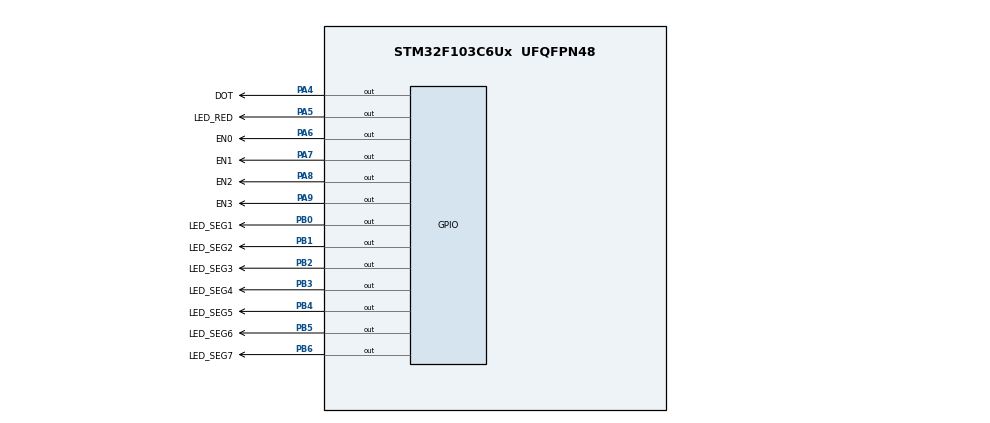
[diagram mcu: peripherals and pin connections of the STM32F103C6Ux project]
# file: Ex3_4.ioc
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Mcu.Family=STM32F1
Mcu.Name=STM32F103C6Ux
Mcu.Package=UFQFPN48
NVIC.PriorityGroup=NVIC_PRIORITYGROUP_4
NVIC.TIM2_IRQn=true\:0\:0\:false\:false\:true\:true\:true
PA4.GPIO_Label=DOT
PA4.Signal=GPIO_Output
PA5.GPIO_Label=LED_RED
PA5.Signal=GPIO_Output
PA6.GPIO_Label=EN0
PA6.Signal=GPIO_Output
PA7.GPIO_Label=EN1
PA7.Signal=GPIO_Output
PA8.GPIO_Label=EN2
PA8.Signal=GPIO_Output
PA9.GPIO_Label=EN3
PA9.Signal=GPIO_Output
PB0.GPIO_Label=LED_SEG1
PB0.Signal=GPIO_Output
PB1.GPIO_Label=LED_SEG2
PB1.Signal=GPIO_Output
PB2.GPIO_Label=LED_SEG3
PB2.Signal=GPIO_Output
PB3.GPIO_Label=LED_SEG4
PB3.Signal=GPIO_Output
PB4.GPIO_Label=LED_SEG5
PB4.Signal=GPIO_Output
PB5.GPIO_Label=LED_SEG6
PB5.Signal=GPIO_Output
PB6.GPIO_Label=LED_SEG7
PB6.Signal=GPIO_Output
ProjectManager.HeapSize=0x200
ProjectManager.StackSize=0x400
ProjectManager.TargetToolchain=STM32CubeIDE
RCC.APB1Freq_Value=8000000
RCC.APB2Freq_Value=8000000
TIM2.Period=9
TIM2.Prescaler=7999
VP_SYS_VS_ND.Mode=No_Debug
VP_TIM2_VS_ClockSourceINT.Mode=Internal
board=custom

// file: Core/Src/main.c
/* USER CODE BEGIN Header */
/**
  ******************************************************************************
  * @file           : main.c
  * @brief          : Main program body
  ******************************************************************************
  * @attention
  *
  * <h2><center>&copy; Copyright (c) 2022 STMicroelectronics.
  * All rights reserved.</center></h2>
  *
  * This software component is licensed by ST under BSD 3-Clause license,
  * the "License"; You may not use this file except in compliance with the
  * License. You may obtain a copy of the License at:
  *                        opensource.org/licenses/BSD-3-Clause
  *
  ******************************************************************************
  */
/* USER CODE END Header */
#include "main.h"

/* USER CODE BEGIN Includes */
#include "timer.h"
/* USER CODE END Includes */

TIM_HandleTypeDef htim2;

void SystemClock_Config(void);
static void MX_TIM2_Init(void);
static void MX_GPIO_Init(void);

/* USER CODE BEGIN 0 */
void display7SEG(int num){
	if(num==0){
		HAL_GPIO_WritePin(LED_SEG1_GPIO_Port, LED_SEG1_Pin, 0);
		HAL_GPIO_WritePin(LED_SEG2_GPIO_Port, LED_SEG2_Pin, 0);
		HAL_GPIO_WritePin(LED_SEG3_GPIO_Port, LED_SEG3_Pin, 0);
		HAL_GPIO_WritePin(LED_SEG4_GPIO_Port, LED_SEG4_Pin, 0);
		HAL_GPIO_WritePin(LED_SEG5_GPIO_Port, LED_SEG5_Pin, 0);
		HAL_GPIO_WritePin(LED_SEG6_GPIO_Port, LED_SEG6_Pin, 0);
		HAL_GPIO_WritePin(LED_SEG7_GPIO_Port, LED_SEG7_Pin, 1);
	}
	if(num==1){
		HAL_GPIO_WritePin(LED_SEG1_GPIO_Port, LED_SEG1_Pin, 1);
		HAL_GPIO_WritePin(LED_SEG2_GPIO_Port, LED_SEG2_Pin, 0);
		HAL_GPIO_WritePin(LED_SEG3_GPIO_Port, LED_SEG3_Pin, 0);
		HAL_GPIO_WritePin(LED_SEG4_GPIO_Port, LED_SEG4_Pin, 1);
		HAL_GPIO_WritePin(LED_SEG5_GPIO_Port, LED_SEG5_Pin, 1);
		HAL_GPIO_WritePin(LED_SEG6_GPIO_Port, LED_SEG6_Pin, 1);
		HAL_GPIO_WritePin(LED_SEG7_GPIO_Port, LED_SEG7_Pin, 1);
	}
	if(num==2){
		HAL_GPIO_WritePin(LED_SEG1_GPIO_Port, LED_SEG1_Pin, 0);
		HAL_GPIO_WritePin(LED_SEG2_GPIO_Port, LED_SEG2_Pin, 0);
		HAL_GPIO_WritePin(LED_SEG3_GPIO_Port, LED_SEG3_Pin, 1);
		HAL_GPIO_WritePin(LED_SEG4_GPIO_Port, LED_SEG4_Pin, 0);
		HAL_GPIO_WritePin(LED_SEG5_GPIO_Port, LED_SEG5_Pin, 0);
		HAL_GPIO_WritePin(LED_SEG6_GPIO_Port, LED_SEG6_Pin, 1);
		HAL_GPIO_WritePin(LED_SEG7_GPIO_Port, LED_SEG7_Pin, 0);
	}
	if(num==3){
		HAL_GPIO_WritePin(LED_SEG1_GPIO_Port, LED_SEG1_Pin, 0);
		HAL_GPIO_WritePin(LED_SEG2_GPIO_Port, LED_SEG2_Pin, 0);
		HAL_GPIO_WritePin(LED_SEG3_GPIO_Port, LED_SEG3_Pin, 0);
		HAL_GPIO_WritePin(LED_SEG4_GPIO_Port, LED_SEG4_Pin, 0);
		HAL_GPIO_WritePin(LED_SEG5_GPIO_Port, LED_SEG5_Pin, 1);
		HAL_GPIO_WritePin(LED_SEG6_GPIO_Port, LED_SEG6_Pin, 1);
		HAL_GPIO_WritePin(LED_SEG7_GPIO_Port, LED_SEG7_Pin, 0);
	}
	if(num==4){
		HAL_GPIO_WritePin(LED_SEG1_GPIO_Port, LED_SEG1_Pin, 1);
		HAL_GPIO_WritePin(LED_SEG2_GPIO_Port, LED_SEG2_Pin, 0);
		HAL_GPIO_WritePin(LED_SEG3_GPIO_Port, LED_SEG3_Pin, 0);
		HAL_GPIO_WritePin(LED_SEG4_GPIO_Port, LED_SEG4_Pin, 1);
		HAL_GPIO_WritePin(LED_SEG5_GPIO_Port, LED_SEG5_Pin, 1);
		HAL_GPIO_WritePin(LED_SEG6_GPIO_Port, LED_SEG6_Pin, 0);
		HAL_GPIO_WritePin(LED_SEG7_GPIO_Port, LED_SEG7_Pin, 0);
	}
	if(num==5){
		HAL_GPIO_WritePin(LED_SEG1_GPIO_Port, LED_SEG1_Pin, 0);
		HAL_GPIO_WritePin(LED_SEG2_GPIO_Port, LED_SEG2_Pin, 1);
		HAL_GPIO_WritePin(LED_SEG3_GPIO_Port, LED_SEG3_Pin, 0);
		HAL_GPIO_WritePin(LED_SEG4_GPIO_Port, LED_SEG4_Pin, 0);
		HAL_GPIO_WritePin(LED_SEG5_GPIO_Port, LED_SEG5_Pin, 1);
		HAL_GPIO_WritePin(LED_SEG6_GPIO_Port, LED_SEG6_Pin, 0);
		HAL_GPIO_WritePin(LED_SEG7_GPIO_Port, LED_SEG7_Pin, 0);
	}
	if(num==6){
		HAL_GPIO_WritePin(LED_SEG1_GPIO_Port, LED_SEG1_Pin, 0);
		HAL_GPIO_WritePin(LED_SEG2_GPIO_Port, LED_SEG2_Pin, 1);
		HAL_GPIO_WritePin(LED_SEG3_GPIO_Port, LED_SEG3_Pin, 0);
		HAL_GPIO_WritePin(LED_SEG4_GPIO_Port, LED_SEG4_Pin, 0);
		HAL_GPIO_WritePin(LED_SEG5_GPIO_Port, LED_SEG5_Pin, 0);
		HAL_GPIO_WritePin(LED_SEG6_GPIO_Port, LED_SEG6_Pin, 0);
		HAL_GPIO_WritePin(LED_SEG7_GPIO_Port, LED_SEG7_Pin, 0);
	}
	if(num==7){
		HAL_GPIO_WritePin(LED_SEG1_GPIO_Port, LED_SEG1_Pin, 0);
		HAL_GPIO_WritePin(LED_SEG2_GPIO_Port, LED_SEG2_Pin, 0);
		HAL_GPIO_WritePin(LED_SEG3_GPIO_Port, LED_SEG3_Pin, 0);
		HAL_GPIO_WritePin(LED_SEG4_GPIO_Port, LED_SEG4_Pin, 1);
		HAL_GPIO_WritePin(LED_SEG5_GPIO_Port, LED_SEG5_Pin, 1);
		HAL_GPIO_WritePin(LED_SEG6_GPIO_Port, LED_SEG6_Pin, 1);
		HAL_GPIO_WritePin(LED_SEG7_GPIO_Port, LED_SEG7_Pin, 1);
	}
	if(num==8){
		HAL_GPIO_WritePin(LED_SEG1_GPIO_Port, LED_SEG1_Pin, 0);
		HAL_GPIO_WritePin(LED_SEG2_GPIO_Port, LED_SEG2_Pin, 0);
		HAL_GPIO_WritePin(LED_SEG3_GPIO_Port, LED_SEG3_Pin, 0);
		HAL_GPIO_WritePin(LED_SEG4_GPIO_Port, LED_SEG4_Pin, 0);
		HAL_GPIO_WritePin(LED_SEG5_GPIO_Port, LED_SEG5_Pin, 0);
		HAL_GPIO_WritePin(LED_SEG6_GPIO_Port, LED_SEG6_Pin, 0);
		HAL_GPIO_WritePin(LED_SEG7_GPIO_Port, LED_SEG7_Pin, 0);
	}
	if(num==9){
		HAL_GPIO_WritePin(LED_SEG1_GPIO_Port, LED_SEG1_Pin, 0);
		HAL_GPIO_WritePin(LED_SEG2_GPIO_Port, LED_SEG2_Pin, 0);
		HAL_GPIO_WritePin(LED_SEG3_GPIO_Port, LED_SEG3_Pin, 0);
		HAL_GPIO_WritePin(LED_SEG4_GPIO_Port, LED_SEG4_Pin, 0);
		HAL_GPIO_WritePin(LED_SEG5_GPIO_Port, LED_SEG5_Pin, 1);
		HAL_GPIO_WritePin(LED_SEG6_GPIO_Port, LED_SEG6_Pin, 0);
		HAL_GPIO_WritePin(LED_SEG7_GPIO_Port, LED_SEG7_Pin, 0);
	}
}
const int MAX_LED=4;
int index_led=0;
int led_buffer[4]={1,2,3,4};
void update7SEG(int index){
	switch(index){
	case 0:
		HAL_GPIO_WritePin(EN0_GPIO_Port, EN0_Pin, RESET);
		HAL_GPIO_WritePin(EN1_GPIO_Port, EN1_Pin, SET);
		HAL_GPIO_WritePin(EN2_GPIO_Port, EN3_Pin, SET);
		HAL_GPIO_WritePin(EN3_GPIO_Port, EN2_Pin, SET);
		display7SEG(led_buffer[index]);
		break;
	case 1:
		HAL_GPIO_WritePin(EN0_GPIO_Port, EN0_Pin, SET);
		HAL_GPIO_WritePin(EN1_GPIO_Port, EN1_Pin, RESET);
		HAL_GPIO_WritePin(EN2_GPIO_Port, EN3_Pin, SET);
		HAL_GPIO_WritePin(EN3_GPIO_Port, EN2_Pin, SET);
		display7SEG(led_buffer[index]);
		break;
	case 2:
		HAL_GPIO_WritePin(EN0_GPIO_Port, EN0_Pin, SET);
		HAL_GPIO_WritePin(EN1_GPIO_Port, EN1_Pin, SET);
		HAL_GPIO_WritePin(EN2_GPIO_Port, EN3_Pin, RESET);
		HAL_GPIO_WritePin(EN3_GPIO_Port, EN2_Pin, SET);
		display7SEG(led_buffer[index]);
		break;
	case 3:
		HAL_GPIO_WritePin(EN0_GPIO_Port, EN0_Pin, SET);
		HAL_GPIO_WritePin(EN1_GPIO_Port, EN1_Pin, SET);
		HAL_GPIO_WritePin(EN2_GPIO_Port, EN3_Pin, SET);
		HAL_GPIO_WritePin(EN3_GPIO_Port, EN2_Pin, RESET);
		display7SEG(led_buffer[index]);
	default:
		break;
	}
}
/* USER CODE END 0 */

int main(void)
{

  /* MCU Configuration--------------------------------------------------------*/

  /* Reset of all peripherals, Initializes the Flash interface and the Systick. */
  HAL_Init();

  /* Configure the system clock */
  SystemClock_Config();

  /* Initialize all configured peripherals */
  MX_TIM2_Init();
  MX_GPIO_Init();
  /* USER CODE BEGIN 2 */
  HAL_TIM_Base_Start_IT(&htim2);
  /* USER CODE END 2 */

  /* Infinite loop */
  /* USER CODE BEGIN WHILE */
  	setTimer1(100);
  	update7SEG(index_led);
    while (1)
    {
  	  if(timer1_flag==1){
  		  setTimer1(100);
  		  HAL_GPIO_TogglePin(LED_RED_GPIO_Port, LED_RED_Pin);
  		  HAL_GPIO_TogglePin(DOT_GPIO_Port, DOT_Pin);
  	  }
    /* USER CODE END WHILE */

  }
}

void SystemClock_Config(void)
{
  RCC_OscInitTypeDef RCC_OscInitStruct = {0};
  RCC_ClkInitTypeDef RCC_ClkInitStruct = {0};

  /** Initializes the RCC Oscillators according to the specified parameters
  * in the RCC_OscInitTypeDef structure.
  */
  RCC_OscInitStruct.OscillatorType = RCC_OSCILLATORTYPE_HSI;
  RCC_OscInitStruct.HSIState = RCC_HSI_ON;
  RCC_OscInitStruct.HSICalibrationValue = RCC_HSICALIBRATION_DEFAULT;
  RCC_OscInitStruct.PLL.PLLState = RCC_PLL_NONE;
  if (HAL_RCC_OscConfig(&RCC_OscInitStruct) != HAL_OK)
  {
    Error_Handler();
  }
  /** Initializes the CPU, AHB and APB buses clocks
  */
  RCC_ClkInitStruct.ClockType = RCC_CLOCKTYPE_HCLK|RCC_CLOCKTYPE_SYSCLK
                              |RCC_CLOCKTYPE_PCLK1|RCC_CLOCKTYPE_PCLK2;
  RCC_ClkInitStruct.SYSCLKSource = RCC_SYSCLKSOURCE_HSI;
  RCC_ClkInitStruct.AHBCLKDivider = RCC_SYSCLK_DIV1;
  RCC_ClkInitStruct.APB1CLKDivider = RCC_HCLK_DIV1;
  RCC_ClkInitStruct.APB2CLKDivider = RCC_HCLK_DIV1;

  if (HAL_RCC_ClockConfig(&RCC_ClkInitStruct, FLASH_LATENCY_0) != HAL_OK)
  {
    Error_Handler();
  }
}

static void MX_TIM2_Init(void)
{

  TIM_ClockConfigTypeDef sClockSourceConfig = {0};
  TIM_MasterConfigTypeDef sMasterConfig = {0};

  htim2.Instance = TIM2;
  htim2.Init.Prescaler = 7999;
  htim2.Init.CounterMode = TIM_COUNTERMODE_UP;
  htim2.Init.Period = 9;
  htim2.Init.ClockDivision = TIM_CLOCKDIVISION_DIV1;
  htim2.Init.AutoReloadPreload = TIM_AUTORELOAD_PRELOAD_DISABLE;
  if (HAL_TIM_Base_Init(&htim2) != HAL_OK)
  {
    Error_Handler();
  }
  sClockSourceConfig.ClockSource = TIM_CLOCKSOURCE_INTERNAL;
  if (HAL_TIM_ConfigClockSource(&htim2, &sClockSourceConfig) != HAL_OK)
  {
    Error_Handler();
  }
  sMasterConfig.MasterOutputTrigger = TIM_TRGO_RESET;
  sMasterConfig.MasterSlaveMode = TIM_MASTERSLAVEMODE_DISABLE;
  if (HAL_TIMEx_MasterConfigSynchronization(&htim2, &sMasterConfig) != HAL_OK)
  {
    Error_Handler();
  }

}

static void MX_GPIO_Init(void)
{
  GPIO_InitTypeDef GPIO_InitStruct = {0};

  /* GPIO Ports Clock Enable */
  __HAL_RCC_GPIOA_CLK_ENABLE();
  __HAL_RCC_GPIOB_CLK_ENABLE();

  /*Configure GPIO pin Output Level */
  HAL_GPIO_WritePin(GPIOA, DOT_Pin|LED_RED_Pin|EN0_Pin|EN1_Pin
                          |EN2_Pin|EN3_Pin, GPIO_PIN_RESET);

  /*Configure GPIO pin Output Level */
  HAL_GPIO_WritePin(GPIOB, LED_SEG1_Pin|LED_SEG2_Pin|LED_SEG3_Pin|LED_SEG4_Pin
                          |LED_SEG5_Pin|LED_SEG6_Pin|LED_SEG7_Pin, GPIO_PIN_RESET);

  /*Configure GPIO pins : DOT_Pin LED_RED_Pin EN0_Pin EN1_Pin
                           EN2_Pin EN3_Pin */
  GPIO_InitStruct.Pin = DOT_Pin|LED_RED_Pin|EN0_Pin|EN1_Pin
                          |EN2_Pin|EN3_Pin;
  GPIO_InitStruct.Mode = GPIO_MODE_OUTPUT_PP;
  GPIO_InitStruct.Pull = GPIO_NOPULL;
  GPIO_InitStruct.Speed = GPIO_SPEED_FREQ_LOW;
  HAL_GPIO_Init(GPIOA, &GPIO_InitStruct);

  /*Configure GPIO pins : LED_SEG1_Pin LED_SEG2_Pin LED_SEG3_Pin LED_SEG4_Pin
                           LED_SEG5_Pin LED_SEG6_Pin LED_SEG7_Pin */
  GPIO_InitStruct.Pin = LED_SEG1_Pin|LED_SEG2_Pin|LED_SEG3_Pin|LED_SEG4_Pin
                          |LED_SEG5_Pin|LED_SEG6_Pin|LED_SEG7_Pin;
  GPIO_InitStruct.Mode = GPIO_MODE_OUTPUT_PP;
  GPIO_InitStruct.Pull = GPIO_NOPULL;
  GPIO_InitStruct.Speed = GPIO_SPEED_FREQ_LOW;
  HAL_GPIO_Init(GPIOB, &GPIO_InitStruct);

}

/* USER CODE BEGIN 4 */
int counter = 50; //EX3
//int counter = 100; // EX4
void HAL_TIM_PeriodElapsedCallback(TIM_HandleTypeDef * htim){
	if(counter>0){
		counter--;
		if(counter<=0){
			 index_led++;
			 if(index_led>=4){ index_led= 0;}
			 counter=50;//EX3
//			 counter=100;//EX4
		}
	}
	update7SEG(index_led);
	timerRun();
}

/* USER CODE END 4 */

void Error_Handler(void)
{
  __disable_irq();
  while (1)
  {
  }
}

/************************ (C) COPYRIGHT STMicroelectronics *****END OF FILE****/
